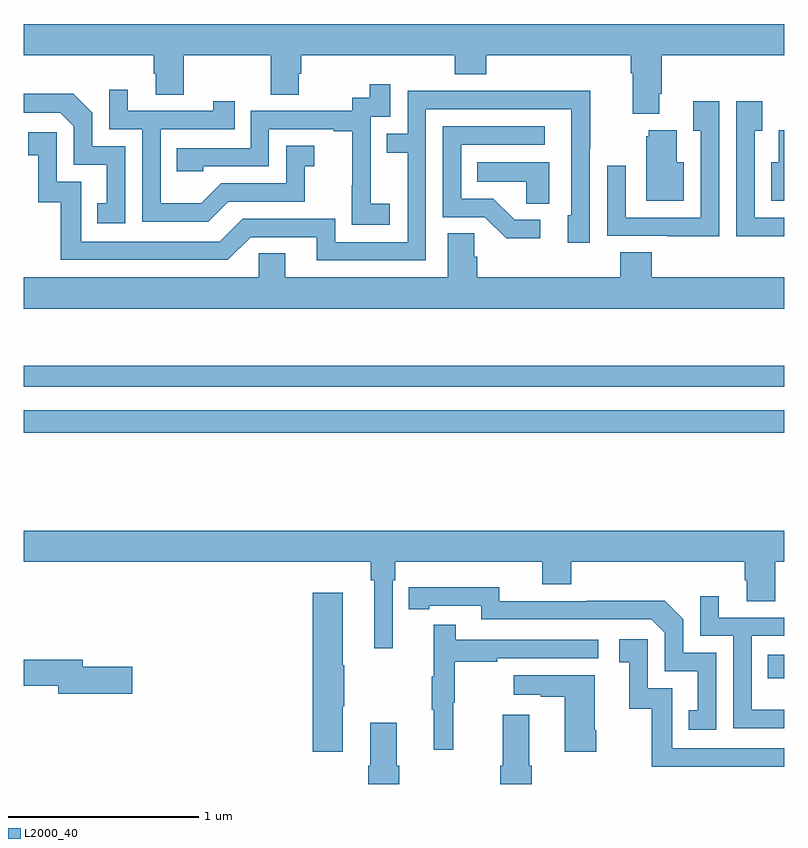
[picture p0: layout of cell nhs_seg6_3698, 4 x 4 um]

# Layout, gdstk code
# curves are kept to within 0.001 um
import gdstk
lib = gdstk.Library(unit=1e-6, precision=1e-09)
def R(c, l, rs):  # rectangles x0, y0, x1, y1
    for r in rs: c.add(gdstk.rectangle(r[:2], r[2:], *l))
def P(c, l, *ps):  # polygons
    for p in ps: c.add(gdstk.Polygon(p, *l))
L2000_40 = (2000, 40)

nhs_seg6_3698 = lib.new_cell('nhs_seg6_3698')
R(nhs_seg6_3698, L2000_40, [(330.913,948.057,331,948.18), (327,949.348,331,949.464), (327,949.59,331,949.699)])
P(nhs_seg6_3698, L2000_40, [(330.343,951.13),(330.356,951.13),(330.356,951.332),(331,951.332),(331,951.496),(327,951.496),(327,951.332),(327.683,951.332),(327.683,951.234),(327.695,951.234),(327.695,951.124),(327.843,951.124),(327.843,951.332),(328.3,951.332),(328.3,951.124),(328.447,951.124),(328.447,951.234),(328.46,951.234),(328.46,951.332),(329.267,951.332),(329.267,951.233),(329.432,951.233),(329.432,951.332),(330.191,951.332),(330.191,951.236),(330.203,951.236),(330.203,951.023),(330.343,951.023)],
  [(328.924,950.551),(328.826,950.551),(328.826,950.78),(328.824,950.78),(328.824,951.009),(328.929,951.009),(328.929,951.178),(328.821,951.178),(328.821,951.108),(328.728,951.108),(328.728,951.039),(328.194,951.039),(328.194,950.844),(327.805,950.844),(327.805,950.721),(327.945,950.721),(327.945,950.748),(328.29,950.748),(328.29,950.943),(328.631,950.943),(328.631,950.931),(328.727,950.931),(328.727,950.647),(328.726,950.647),(328.726,950.441),(328.924,950.441)],
  [(328.075,950.562),(328.479,950.562),(328.479,950.747),(328.528,950.747),(328.528,950.857),(328.38,950.857),(328.38,950.658),(328.038,950.658),(327.934,950.554),(327.72,950.554),(327.72,950.943),(328.109,950.943),(328.109,951.091),(327.998,951.091),(327.998,951.039),(327.547,951.039),(327.547,951.151),(327.45,951.151),(327.45,950.943),(327.624,950.943),(327.624,950.457),(327.97,950.457)],
  [(329.115,951.048),(329.88,951.048),(329.88,950.49),(329.861,950.49),(329.861,950.346),(329.976,950.346),(329.976,950.839),(329.979,950.839),(329.979,951.146),(329.515,951.146),(329.515,951.144),(329.019,951.144),(329.019,950.919),(328.909,950.919),(328.909,950.818),(329.019,950.818),(329.019,950.349),(328.638,950.349),(328.638,950.472),(328.152,950.472),(328.032,950.352),(327.303,950.352),(327.303,950.667),(327.174,950.667),(327.174,950.926),(327.024,950.926),(327.024,950.805),(327.077,950.805),(327.077,950.559),(327.195,950.559),(327.195,950.256),(328.074,950.256),(328.194,950.376),(328.541,950.376),(328.541,950.253),(329.115,950.253)],
  [(327.534,950.853),(327.36,950.853),(327.36,951.03),(327.262,951.128),(327,951.128),(327,951.03),(327.192,951.03),(327.264,950.958),(327.264,950.757),(327.437,950.757),(327.437,950.553),(327.388,950.553),(327.388,950.448),(327.534,950.448)],
  [(331,950.478),(330.843,950.478),(330.843,950.935),(330.883,950.935),(330.883,951.091),(330.747,951.091),(330.747,950.381),(331,950.381)],
  [(330.657,951.091),(330.521,951.091),(330.521,950.935),(330.561,950.935),(330.561,950.478),(330.165,950.478),(330.165,950.752),(330.069,950.752),(330.069,950.382),(330.385,950.382),(330.385,950.381),(330.657,950.381)],
  [(329.716,950.466),(329.581,950.466),(329.47,950.577),(329.301,950.577),(329.301,950.862),(329.74,950.862),(329.74,950.958),(329.205,950.958),(329.205,950.481),(329.424,950.481),(329.537,950.369),(329.716,950.369)],
  [(331,950.938),(330.971,950.938),(330.971,950.77),(330.932,950.77),(330.932,950.567),(331,950.567)],
  [(330.472,950.77),(330.433,950.77),(330.433,950.938),(330.287,950.938),(330.287,950.907),(330.275,950.907),(330.275,950.567),(330.472,950.567)],
  [(329.764,950.77),(329.386,950.77),(329.386,950.666),(329.643,950.666),(329.643,950.551),(329.764,950.551)],
  [(331,950.164),(330.302,950.164),(330.302,950.297),(330.137,950.297),(330.137,950.164),(329.384,950.164),(329.384,950.273),(329.37,950.273),(329.37,950.396),(329.231,950.396),(329.231,950.164),(328.375,950.164),(328.375,950.291),(328.236,950.291),(328.236,950.164),(327,950.164),(327,950),(331,950)],
  [(327,948.668),(328.825,948.668),(328.825,948.572),(328.844,948.572),(328.844,948.213),(328.941,948.213),(328.941,948.572),(328.955,948.572),(328.955,948.668),(329.726,948.668),(329.726,948.551),(329.879,948.551),(329.879,948.668),(330.791,948.668),(330.791,948.57),(330.803,948.57),(330.803,948.46),(330.951,948.46),(330.951,948.668),(331,948.668),(331,948.832),(327,948.832)],
  [(330.642,948.189),(330.468,948.189),(330.468,948.366),(330.37,948.464),(329.962,948.464),(329.962,948.462),(329.502,948.462),(329.502,948.535),(329.026,948.534),(329.026,948.418),(329.134,948.418),(329.134,948.438),(329.406,948.438),(329.406,948.366),(330.3,948.366),(330.372,948.294),(330.372,948.093),(330.545,948.093),(330.545,947.889),(330.496,947.889),(330.496,947.784),(330.642,947.784)],
  [(328.678,947.908),(328.686,947.908),(328.686,948.125),(328.678,948.125),(328.678,948.505),(328.52,948.505),(328.52,947.67),(328.678,947.67)],
  [(331,947.89),(330.828,947.89),(330.828,948.279),(331,948.279),(331,948.375),(330.655,948.375),(330.655,948.487),(330.558,948.487),(330.558,948.279),(330.732,948.279),(330.732,947.793),(331,947.793)],
  [(329.258,947.928),(329.266,947.928),(329.266,948.142),(329.489,948.142),(329.489,948.162),(330.022,948.162),(330.022,948.258),(329.273,948.258),(329.273,948.337),(329.156,948.337),(329.156,948.065),(329.145,948.065),(329.145,947.891),(329.156,947.891),(329.156,947.679),(329.258,947.679)],
  [(331,947.688),(330.411,947.688),(330.411,948.003),(330.282,948.003),(330.282,948.262),(330.132,948.262),(330.132,948.141),(330.185,948.141),(330.185,947.895),(330.303,947.895),(330.303,947.592),(331,947.592)],
  [(327.571,948.116),(327.31,948.116),(327.31,948.152),(327,948.152),(327,948.016),(327.182,948.016),(327.182,947.974),(327.571,947.974)],
  [(330.012,947.782),(330.004,947.782),(330.004,948.073),(329.577,948.073),(329.577,947.969),(329.72,947.969),(329.72,947.959),(329.846,947.959),(329.846,947.67),(330.012,947.67)],
  [(329.672,947.596),(329.659,947.596),(329.659,947.863),(329.519,947.863),(329.519,947.596),(329.507,947.596),(329.507,947.5),(329.672,947.5)],
  [(328.963,947.596),(328.963,947.821),(328.823,947.821),(328.823,947.596),(328.811,947.596),(328.811,947.5),(328.976,947.5),(328.976,947.596)])

lib.write_gds('nhs_seg6_3698.gds')
